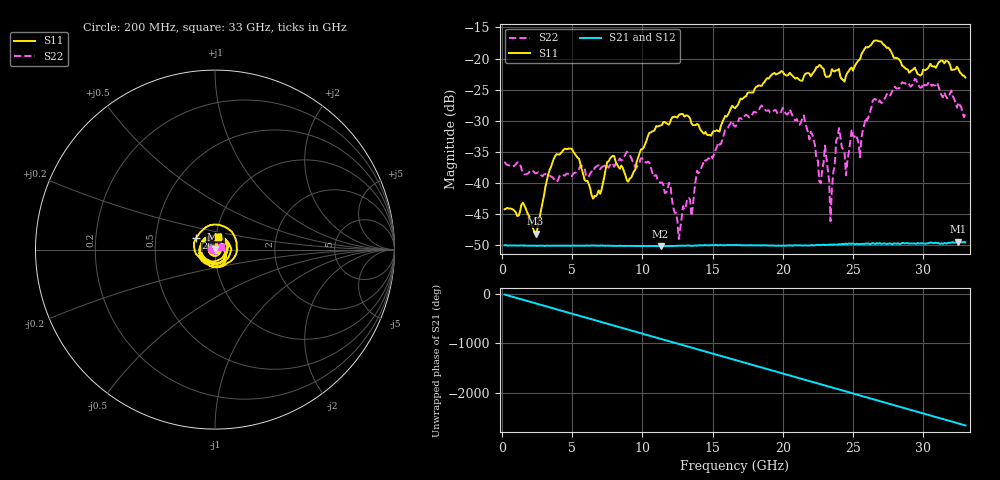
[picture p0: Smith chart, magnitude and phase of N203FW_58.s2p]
# GHZ S RI R 50
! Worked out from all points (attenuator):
!   329 points, 200 MHz to 33 GHz, reference 50 ohm
!   highest |S21| = -49.41 dB at 32.5 GHz (marker M1); lowest = -50.1 dB at 11.3 GHz (marker M2)
!   lowest |S11| = -48.1 dB at 2.4 GHz (marker M3), VSWR 1.01, Z = 50.2 + j0.323 ohm
!   |S11| at or under -10 dB: start of sweep to end of sweep
!   |S22| runs from -49.0 to -23.2 dB; largest |S21 - S12| = 8.8e-05
!   S11 on the Smith chart (normalised r, x): 200 MHz: 1.01, +0.00; 26 GHz: 0.80, +0.10; 33 GHz: 1.02, +0.14
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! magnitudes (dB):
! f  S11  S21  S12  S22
! 200 MHz  -44.2  -50.0  -49.9  -36.5
! 2.4 GHz  -48.1  -50.0  -50.0  -38.4
! 3.8 GHz  -35.6  -50.0  -50.0  -39.5
! 5.7 GHz  -37.8  -50.0  -50.0  -37.2
! 9 GHz  -39.8  -50.1  -50.1  -35.1
! 11.2 GHz  -30.8  -50.1  -50.1  -39.7
! 11.3 GHz  -30.7  -50.1  -50.1  -40.0
! 12.6 GHz  -29.0  -50.1  -50.0  -49.0
! 13.9 GHz  -30.5  -50.0  -50.0  -38.0
! 16.6 GHz  -28.0  -49.9  -49.9  -30.9
! 22.1 GHz  -22.4  -49.9  -49.9  -32.2
! 22.7 GHz  -21.1  -49.9  -49.9  -40.0
! 23 GHz  -22.6  -49.9  -49.9  -34.0
! 23.4 GHz  -22.6  -49.8  -49.9  -46.1
! 24 GHz  -21.7  -49.8  -49.8  -31.1
! 24.5 GHz  -22.7  -49.7  -49.7  -38.7
! 24.9 GHz  -21.4  -49.7  -49.6  -31.4
! 25.5 GHz  -20.1  -49.8  -49.7  -35.8
! 26 GHz  -18.2  -49.7  -49.7  -29.9
! 27.6 GHz  -18.5  -49.7  -49.7  -26.1
! 32.5 GHz  -21.7  -49.4  -49.4  -27.0
! 33 GHz  -23.0  -49.5  -49.5  -29.0
